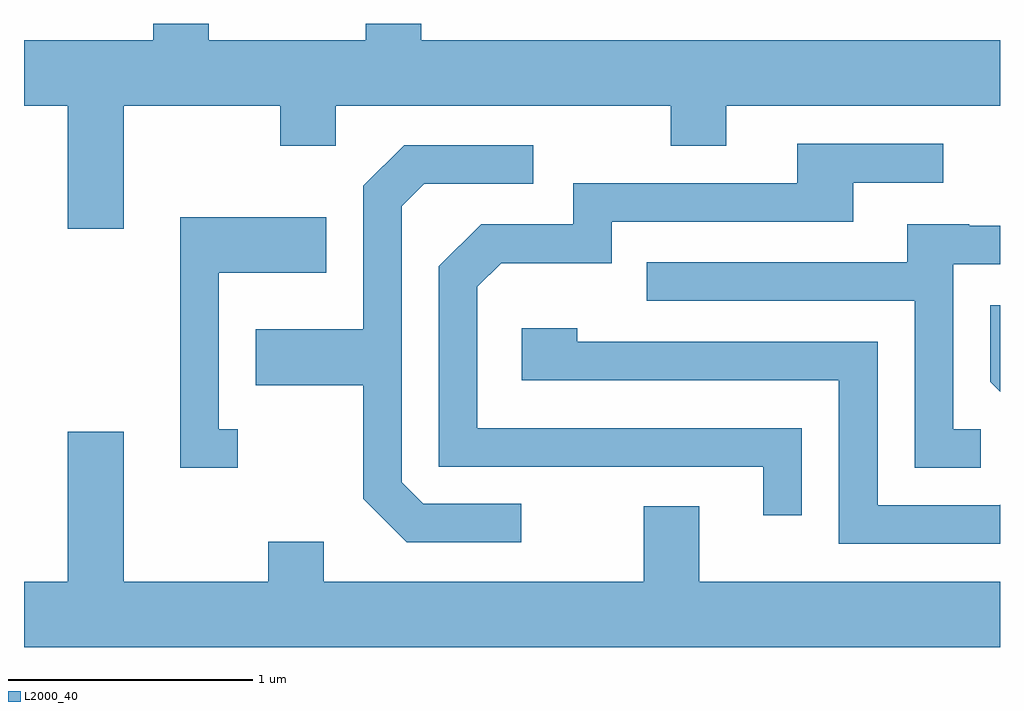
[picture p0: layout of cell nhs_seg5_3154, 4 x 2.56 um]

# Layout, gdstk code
import gdstk
lib = gdstk.Library(unit=1e-6, precision=1e-09)
def P(c, l, *ps):  # polygons
    for p in ps: c.add(gdstk.Polygon(p, *l))
L2000_40 = (2000, 40)

nhs_seg5_3154 = lib.new_cell('nhs_seg5_3154')
P(nhs_seg5_3154, L2000_40, [(280.019,1405.736),(280.661,1405.736),(280.661,1405.571),(280.889,1405.571),(280.889,1405.736),(282.261,1405.736),(282.261,1405.571),(282.489,1405.571),(282.489,1405.736),(283.611,1405.736),(283.611,1406.004),(281.239,1406.004),(281.239,1406.072),(281.011,1406.072),(281.011,1406.004),(280.369,1406.004),(280.369,1406.072),(280.141,1406.072),(280.141,1406.004),(279.611,1406.004),(279.611,1405.736),(279.791,1405.736),(279.791,1405.231),(280.019,1405.231)],
  [(282.799,1404.414),(281.469,1404.414),(281.469,1404.994),(281.567,1405.091),(282.019,1405.091),(282.019,1405.261),(283.009,1405.261),(283.009,1405.421),(283.378,1405.421),(283.378,1405.579),(282.781,1405.579),(282.781,1405.419),(281.861,1405.419),(281.861,1405.249),(281.484,1405.249),(281.311,1405.077),(281.311,1404.256),(282.641,1404.256),(282.641,1404.058),(282.799,1404.058)],
  [(281.648,1404.104),(281.247,1404.104),(281.159,1404.192),(281.159,1405.324),(281.252,1405.416),(281.698,1405.416),(281.698,1405.574),(281.169,1405.574),(281.001,1405.407),(281.001,1404.819),(280.561,1404.819),(280.561,1404.591),(281.001,1404.591),(281.001,1404.124),(281.179,1403.946),(281.648,1403.946)],
  [(280.488,1404.409),(280.409,1404.409),(280.409,1405.051),(280.849,1405.051),(280.849,1405.279),(280.251,1405.279),(280.251,1404.251),(280.488,1404.251)],
  [(283.533,1404.409),(283.419,1404.409),(283.419,1405.086),(283.611,1405.086),(283.611,1405.244),(283.485,1405.244),(283.485,1405.249),(283.231,1405.249),(283.231,1405.094),(282.163,1405.094),(282.163,1404.936),(283.261,1404.936),(283.261,1404.251),(283.533,1404.251)],
  [(283.611,1404.918),(283.571,1404.918),(283.571,1404.604),(283.611,1404.564)],
  [(283.611,1404.101),(283.609,1404.099),(283.109,1404.099),(283.109,1404.769),(281.879,1404.769),(281.879,1404.824),(281.651,1404.824),(281.651,1404.611),(282.951,1404.611),(282.951,1403.941),(283.611,1403.941)],
  [(283.611,1403.784),(282.379,1403.784),(282.379,1404.094),(282.151,1404.094),(282.151,1403.784),(280.839,1403.784),(280.839,1403.949),(280.611,1403.949),(280.611,1403.784),(280.019,1403.784),(280.019,1404.399),(279.791,1404.399),(279.791,1403.784),(279.611,1403.784),(279.611,1403.516),(283.611,1403.516)])

lib.write_gds('nhs_seg5_3154.gds')
